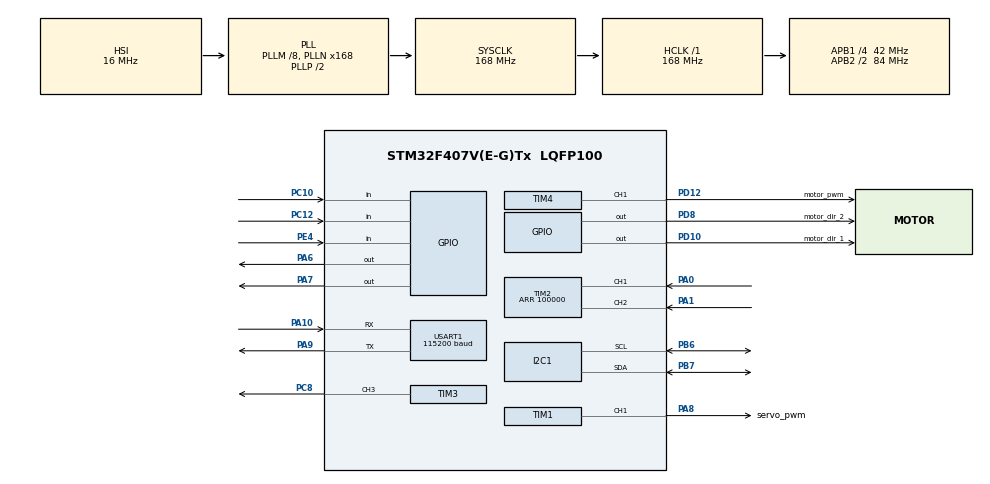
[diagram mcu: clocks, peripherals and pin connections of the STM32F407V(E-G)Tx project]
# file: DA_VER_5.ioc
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Mcu.Family=STM32F4
Mcu.Name=STM32F407V(E-G)Tx
Mcu.Package=LQFP100
NVIC.PriorityGroup=NVIC_PRIORITYGROUP_4
NVIC.TIM2_IRQn=true\:0\:0\:false\:false\:true\:true\:true\:true
NVIC.USART1_IRQn=true\:0\:0\:false\:false\:true\:true\:true\:true
PA0-WKUP.Signal=S_TIM2_CH1_ETR
PA1.Signal=S_TIM2_CH2
PA10.Mode=Asynchronous
PA10.Signal=USART1_RX
PA13.Mode=Serial_Wire
PA13.Signal=SYS_JTMS-SWDIO
PA14.Mode=Serial_Wire
PA14.Signal=SYS_JTCK-SWCLK
PA6.Signal=GPIO_Output
PA7.Signal=GPIO_Output
PA8.GPIO_Label=servo_pwm
PA8.Signal=S_TIM1_CH1
PA9.Mode=Asynchronous
PA9.Signal=USART1_TX
PB6.Mode=I2C
PB6.Signal=I2C1_SCL
PB7.Mode=I2C
PB7.Signal=I2C1_SDA
PC10.Signal=GPIO_Input
PC12.Signal=GPIO_Input
PC14-OSC32_IN.Mode=LSE-External-Oscillator
PC14-OSC32_IN.Signal=RCC_OSC32_IN
PC15-OSC32_OUT.Mode=LSE-External-Oscillator
PC15-OSC32_OUT.Signal=RCC_OSC32_OUT
PC8.Signal=S_TIM3_CH3
PD10.GPIO_Label=motor_dir_1
PD10.Signal=GPIO_Output
PD12.GPIO_Label=motor_pwm
PD12.Signal=S_TIM4_CH1
PD8.GPIO_Label=motor_dir_2
PD8.Signal=GPIO_Output
PE4.GPIO_PuPd=GPIO_PULLUP
PE4.Signal=GPIO_Input
PH0-OSC_IN.Mode=HSE-External-Oscillator
PH0-OSC_IN.Signal=RCC_OSC_IN
PH1-OSC_OUT.Mode=HSE-External-Oscillator
PH1-OSC_OUT.Signal=RCC_OSC_OUT
ProjectManager.HeapSize=0x200
ProjectManager.StackSize=0x400
ProjectManager.TargetToolchain=STM32CubeIDE
RCC.48MHZClocksFreq_Value=84000000
RCC.AHBFreq_Value=168000000
RCC.APB1CLKDivider=RCC_HCLK_DIV4
RCC.APB1Freq_Value=42000000
RCC.APB1TimFreq_Value=84000000
RCC.APB2CLKDivider=RCC_HCLK_DIV2
RCC.APB2Freq_Value=84000000
RCC.APB2TimFreq_Value=168000000
RCC.CortexFreq_Value=168000000
RCC.HCLKFreq_Value=168000000
RCC.HSE_VALUE=25000000
RCC.HSI_VALUE=16000000
RCC.PLLM=8
RCC.PLLN=168
RCC.SYSCLKFreq_VALUE=168000000
RCC.SYSCLKSource=RCC_SYSCLKSOURCE_PLLCLK
RCC.VCOOutputFreq_Value=336000000
SH.S_TIM1_CH1.0=TIM1_CH1,PWM Generation1 CH1
SH.S_TIM2_CH1_ETR.0=TIM2_CH1,Encoder_Interface
SH.S_TIM2_CH2.0=TIM2_CH2,Encoder_Interface
SH.S_TIM3_CH3.0=TIM3_CH3,PWM Generation3 CH3
SH.S_TIM4_CH1.0=TIM4_CH1,PWM Generation1 CH1
TIM1.Channel-PWM\ Generation1\ CH1=TIM_CHANNEL_1
TIM2.EncoderMode=TIM_ENCODERMODE_TI12
TIM2.IC1Polarity=TIM_ICPOLARITY_FALLING
TIM2.IC2Polarity=TIM_ICPOLARITY_FALLING
TIM2.Period=100000
TIM3.Channel-PWM\ Generation3\ CH3=TIM_CHANNEL_3
TIM3.Period=20000
TIM3.Prescaler=83
TIM4.Channel-PWM\ Generation1\ CH1=TIM_CHANNEL_1
TIM4.Period=99
TIM4.Prescaler=42000
USART1.BaudRate=115200
USART1.VirtualMode=VM_ASYNC
VP_TIM1_VS_ClockSourceINT.Mode=Internal
VP_TIM4_VS_ClockSourceINT.Mode=Internal
board=custom

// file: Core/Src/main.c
/* USER CODE BEGIN Header */
/**
  ******************************************************************************
  * @file           : main.c
  * @brief          : Main program body
  ******************************************************************************
  * @attention
  *
  * Copyright (c) 2023 STMicroelectronics.
  * All rights reserved.
  *
  * This software is licensed under terms that can be found in the LICENSE file
  * in the root directory of this software component.
  * If no LICENSE file comes with this software, it is provided AS-IS.
  *
  ******************************************************************************
  */
/* USER CODE END Header */
#include "main.h"

/* USER CODE BEGIN Includes */
#include "liquidcrystal_i2c.h"
#include "string.h"
#include <stdio.h>
#include <stdlib.h>
/* USER CODE END Includes */

/* USER CODE BEGIN PD */
#define BUFFER_SIZE 30
char buffer[BUFFER_SIZE];
/* USER CODE END PD */

/* USER CODE BEGIN PM */
TIM_HandleTypeDef htim3;
/* USER CODE END PM */

I2C_HandleTypeDef hi2c1;

TIM_HandleTypeDef htim1;
TIM_HandleTypeDef htim2;
TIM_HandleTypeDef htim4;

UART_HandleTypeDef huart1;

void SystemClock_Config(void);
static void MX_GPIO_Init(void);
static void MX_I2C1_Init(void);
static void MX_TIM1_Init(void);
static void MX_TIM4_Init(void);
static void MX_USART1_UART_Init(void);
static void MX_TIM2_Init(void);

/* USER CODE BEGIN PFP */
static void Motor_Control(int32_t motorSpeed);
static void MX_TIM3_Init(void);
/* USER CODE END PFP */

/* USER CODE BEGIN 0 */
float Input, Setpoint, Kp, Ki, Kd;
float P, I, D, PID;
float last_error, error;
float dt = 0.1; // th�?i gian lấy mẫu
float Load;
char *pch;

uint8_t running = 0;

uint32_t counter = 0;

void HAL_TIM_IC_CaptureCallback(TIM_HandleTypeDef *htim)
{
	counter = __HAL_TIM_GET_COUNTER(htim);
}

/* USER CODE END 0 */

int main(void)
{

  /* MCU Configuration--------------------------------------------------------*/

  /* Reset of all peripherals, Initializes the Flash interface and the Systick. */
  HAL_Init();

  /* Configure the system clock */
  SystemClock_Config();

  /* Initialize all configured peripherals */
  MX_GPIO_Init();
  MX_I2C1_Init();
  MX_TIM1_Init();
  MX_TIM4_Init();
  MX_USART1_UART_Init();
  MX_TIM2_Init();
  MX_TIM3_Init();
  /* USER CODE BEGIN 2 */
  HD44780_Init(2);
  HD44780_Clear();
  HD44780_SetCursor(0,0);
  HD44780_PrintStr("DO AN DIEU KHIEN");
	char str[6];
  HAL_TIM_PWM_Start(&htim4, TIM_CHANNEL_1);
  HAL_TIM_Encoder_Start_IT(&htim2, TIM_CHANNEL_ALL);
  HAL_TIM_PWM_Start(&htim3, TIM_CHANNEL_3);
  /* USER CODE END 2 */

  /* Infinite loop */
  /* USER CODE BEGIN WHILE */
  float KP, KD, KI;
  KP = 14;
  KI = 0.0143;
  KD = 10;
  Setpoint = 3600;

  // 1100 14 0.02 10
  Kp = KP/100;
  Ki = KI/100;
  Kd = KD/100;

  int16_t Position = 0;
  int16_t lastPosition = 0;
  while (1)
  {
			if (HAL_GPIO_ReadPin(GPIOE, GPIO_PIN_4) == 0) {
				P = 0; I = 0; D = 0; PID = 0;
				last_error = 0; error = 0;
				HAL_Delay(100);
				__HAL_TIM_SetCounter(&htim2,0);
			}

//##################### read Value from uart ##########################//
while (!running) {
	  Kp = KP/100;
	  Ki = KI/100;
	  Kd = KD/100;
	HAL_UART_Receive(&huart1, &buffer, 30, 100);
	if ((char)buffer[0] == 's') running = 1;
	if ((char)buffer[0] == 'o') running = 0;

	  pch = strtok(buffer, ":,");
	  while (pch != NULL)
	  {
		if (strcmp(pch, "Kp") == 0)
		{
		  KP = atof(strtok(NULL, ":,"));
		}
		else if (strcmp(pch, "Kd") == 0)
		{
		  KD = atof(strtok(NULL, ":,"));
		}
		else
		if (strcmp(pch, "Ki") == 0)
		{
		  KI = atof(strtok(NULL, ":,"));
		}
		else
			if (strcmp(pch, "Ag") == 0)
		{
		  Setpoint = atof(strtok(NULL, ":,"));
		}
		else if (strcmp(pch, "Re") == 0)
		{
		  Load = atof(strtok(NULL, ":,"));
		}
		pch = strtok(NULL, ":,");
		}
	 // if (counter < 25000) Position = counter; else Position = -(50000 - counter);
	  Position = 0;
	  lastPosition = counter;
		P = 0; I = 0; D = 0; PID = 0;
		last_error = 0; error = 0;
		HAL_Delay(100);
		//HAL_TIM_Encoder_Start_IT(&htim2, TIM_CHANNEL_ALL);
//		__HAL_TIM_SetCounter(&htim2,0);
//		if (counter == 0) lastPosition = 0;
		if (Load) {
			htim3.Instance->CCR3 = 1750;
		} else {
			htim3.Instance->CCR3 = 2500;
		}
		Motor_Control(0);

		//##################### I2C LCD SHOW ##########################//
		HD44780_Clear();
				sprintf(str, "%ld", (uint32_t)Setpoint);
				HD44780_SetCursor(10,1);
				HD44780_PrintStr(str);

		  		sprintf(str, "%ld", (uint32_t)Load);
		  				  		HD44780_SetCursor(8,1);
		  				  		HD44780_PrintStr(str);
		  	    sprintf(str, "%ld", (uint32_t)(KP));
					HD44780_SetCursor(0,1);
					HD44780_PrintStr(str);

		//##################### I2C LCD SHOW ##########################//

}

while (running) {
	//##################### caculate PID ##########################//
	  Kp = KP/100;
	  Ki = KI/100;
	  Kd = KD/100;
	HAL_UART_Receive(&huart1, &buffer, 30, 10);
	if ((char)buffer[0] == 's') running = 1;
	if ((char)buffer[0] == 'o') running = 0;

		//if (counter < 25000) Position = counter; else Position = -(50000 - counter);
		//if (Position < 0) Position = 0;
		Position = counter - lastPosition;
		Input = Position;
	    error = Setpoint - Input;
	    P = Kp * error;
	    I += Ki * error * dt;
	    D = Kd * (error - last_error) / dt;
	    PID = P + I + D;
	    last_error = error;
	    int speed = PID;
		  if (speed > 100) {
			  speed = 100;
		  }
		  else if (speed < -100) {
			  speed = -100;
		  }
	    Motor_Control(speed);
		  HAL_Delay(dt);
	//##################### caculate PID ##########################//

	//##################### tranfer data ##########################//
		  char buffer1[30];
		  int len = sprintf(buffer1, "%d", Position);
		  if (HAL_UART_Transmit(&huart1, (uint8_t*)buffer1, len, 20) != HAL_OK)
		  {
		    Error_Handler();
		  }

		  uint8_t data[] = "%";
		  HAL_UART_Transmit(&huart1, data, sizeof (data), 10);

		  len = sprintf(buffer1, "%d\r\n", speed);
		  if (HAL_UART_Transmit(&huart1, (uint8_t*)buffer1, len, 20) != HAL_OK)
		  {
		    Error_Handler();
		  }
	//##################### tranfer data ##########################//

		  //##################### I2C LCD SHOW ##########################//
		  HD44780_Clear();
		  		sprintf(str, "%ld", (uint32_t)speed);
		  		HD44780_SetCursor(10,1);
		  		HD44780_PrintStr(str);

		  		sprintf(str, "%ld", (uint32_t)running);
		  				  		HD44780_SetCursor(8,1);
		  				  		HD44780_PrintStr(str);

		  	  sprintf(str, "%d", Position);
		  	HD44780_SetCursor(0,1);
		  			  				  		HD44780_PrintStr(str);
//		  	  if (counter < 1000) {
//		  			HD44780_SetCursor(0,1);
//		  			HD44780_PrintStr(" ");
//		  			HD44780_SetCursor(1,1);
//		  			HD44780_PrintStr(str);
//		  	  } else {
//		  			HD44780_SetCursor(1,1);
//		  			HD44780_PrintStr(str);
//		  	  }
//		  	  HD44780_SetCursor(5,1);
//		  	  HD44780_PrintStr("  ");
		  //##################### I2C LCD SHOW ##########################//
}

    /* USER CODE END WHILE */

}
}

void SystemClock_Config(void)
{
  RCC_OscInitTypeDef RCC_OscInitStruct = {0};
  RCC_ClkInitTypeDef RCC_ClkInitStruct = {0};

  /** Configure the main internal regulator output voltage
  */
  __HAL_RCC_PWR_CLK_ENABLE();
  __HAL_PWR_VOLTAGESCALING_CONFIG(PWR_REGULATOR_VOLTAGE_SCALE1);

  /** Initializes the RCC Oscillators according to the specified parameters
  * in the RCC_OscInitTypeDef structure.
  */
  RCC_OscInitStruct.OscillatorType = RCC_OSCILLATORTYPE_HSI;
  RCC_OscInitStruct.HSIState = RCC_HSI_ON;
  RCC_OscInitStruct.HSICalibrationValue = RCC_HSICALIBRATION_DEFAULT;
  RCC_OscInitStruct.PLL.PLLState = RCC_PLL_ON;
  RCC_OscInitStruct.PLL.PLLSource = RCC_PLLSOURCE_HSI;
  RCC_OscInitStruct.PLL.PLLM = 8;
  RCC_OscInitStruct.PLL.PLLN = 168;
  RCC_OscInitStruct.PLL.PLLP = RCC_PLLP_DIV2;
  RCC_OscInitStruct.PLL.PLLQ = 4;
  if (HAL_RCC_OscConfig(&RCC_OscInitStruct) != HAL_OK)
  {
    Error_Handler();
  }

  /** Initializes the CPU, AHB and APB buses clocks
  */
  RCC_ClkInitStruct.ClockType = RCC_CLOCKTYPE_HCLK|RCC_CLOCKTYPE_SYSCLK
                              |RCC_CLOCKTYPE_PCLK1|RCC_CLOCKTYPE_PCLK2;
  RCC_ClkInitStruct.SYSCLKSource = RCC_SYSCLKSOURCE_PLLCLK;
  RCC_ClkInitStruct.AHBCLKDivider = RCC_SYSCLK_DIV1;
  RCC_ClkInitStruct.APB1CLKDivider = RCC_HCLK_DIV4;
  RCC_ClkInitStruct.APB2CLKDivider = RCC_HCLK_DIV2;

  if (HAL_RCC_ClockConfig(&RCC_ClkInitStruct, FLASH_LATENCY_5) != HAL_OK)
  {
    Error_Handler();
  }
}

static void MX_I2C1_Init(void)
{

  hi2c1.Instance = I2C1;
  hi2c1.Init.ClockSpeed = 100000;
  hi2c1.Init.DutyCycle = I2C_DUTYCYCLE_2;
  hi2c1.Init.OwnAddress1 = 0;
  hi2c1.Init.AddressingMode = I2C_ADDRESSINGMODE_7BIT;
  hi2c1.Init.DualAddressMode = I2C_DUALADDRESS_DISABLE;
  hi2c1.Init.OwnAddress2 = 0;
  hi2c1.Init.GeneralCallMode = I2C_GENERALCALL_DISABLE;
  hi2c1.Init.NoStretchMode = I2C_NOSTRETCH_DISABLE;
  if (HAL_I2C_Init(&hi2c1) != HAL_OK)
  {
    Error_Handler();
  }

}

static void MX_TIM1_Init(void)
{

  TIM_ClockConfigTypeDef sClockSourceConfig = {0};
  TIM_MasterConfigTypeDef sMasterConfig = {0};
  TIM_OC_InitTypeDef sConfigOC = {0};
  TIM_BreakDeadTimeConfigTypeDef sBreakDeadTimeConfig = {0};

  htim1.Instance = TIM1;
  htim1.Init.Prescaler = 0;
  htim1.Init.CounterMode = TIM_COUNTERMODE_UP;
  htim1.Init.Period = 65535;
  htim1.Init.ClockDivision = TIM_CLOCKDIVISION_DIV1;
  htim1.Init.RepetitionCounter = 0;
  htim1.Init.AutoReloadPreload = TIM_AUTORELOAD_PRELOAD_DISABLE;
  if (HAL_TIM_Base_Init(&htim1) != HAL_OK)
  {
    Error_Handler();
  }
  sClockSourceConfig.ClockSource = TIM_CLOCKSOURCE_INTERNAL;
  if (HAL_TIM_ConfigClockSource(&htim1, &sClockSourceConfig) != HAL_OK)
  {
    Error_Handler();
  }
  if (HAL_TIM_PWM_Init(&htim1) != HAL_OK)
  {
    Error_Handler();
  }
  sMasterConfig.MasterOutputTrigger = TIM_TRGO_RESET;
  sMasterConfig.MasterSlaveMode = TIM_MASTERSLAVEMODE_DISABLE;
  if (HAL_TIMEx_MasterConfigSynchronization(&htim1, &sMasterConfig) != HAL_OK)
  {
    Error_Handler();
  }
  sConfigOC.OCMode = TIM_OCMODE_PWM1;
  sConfigOC.Pulse = 0;
  sConfigOC.OCPolarity = TIM_OCPOLARITY_HIGH;
  sConfigOC.OCNPolarity = TIM_OCNPOLARITY_HIGH;
  sConfigOC.OCFastMode = TIM_OCFAST_DISABLE;
  sConfigOC.OCIdleState = TIM_OCIDLESTATE_RESET;
  sConfigOC.OCNIdleState = TIM_OCNIDLESTATE_RESET;
  if (HAL_TIM_PWM_ConfigChannel(&htim1, &sConfigOC, TIM_CHANNEL_1) != HAL_OK)
  {
    Error_Handler();
  }
  sBreakDeadTimeConfig.OffStateRunMode = TIM_OSSR_DISABLE;
  sBreakDeadTimeConfig.OffStateIDLEMode = TIM_OSSI_DISABLE;
  sBreakDeadTimeConfig.LockLevel = TIM_LOCKLEVEL_OFF;
  sBreakDeadTimeConfig.DeadTime = 0;
  sBreakDeadTimeConfig.BreakState = TIM_BREAK_DISABLE;
  sBreakDeadTimeConfig.BreakPolarity = TIM_BREAKPOLARITY_HIGH;
  sBreakDeadTimeConfig.AutomaticOutput = TIM_AUTOMATICOUTPUT_DISABLE;
  if (HAL_TIMEx_ConfigBreakDeadTime(&htim1, &sBreakDeadTimeConfig) != HAL_OK)
  {
    Error_Handler();
  }
  HAL_TIM_MspPostInit(&htim1);

}

static void MX_TIM2_Init(void)
{

  TIM_Encoder_InitTypeDef sConfig = {0};
  TIM_MasterConfigTypeDef sMasterConfig = {0};

  htim2.Instance = TIM2;
  htim2.Init.Prescaler = 0;
  htim2.Init.CounterMode = TIM_COUNTERMODE_UP;
  htim2.Init.Period = 50000;
  htim2.Init.ClockDivision = TIM_CLOCKDIVISION_DIV1;
  htim2.Init.AutoReloadPreload = TIM_AUTORELOAD_PRELOAD_DISABLE;
  sConfig.EncoderMode = TIM_ENCODERMODE_TI12;
  sConfig.IC1Polarity = TIM_ICPOLARITY_FALLING;
  sConfig.IC1Selection = TIM_ICSELECTION_DIRECTTI;
  sConfig.IC1Prescaler = TIM_ICPSC_DIV1;
  sConfig.IC1Filter = 0;
  sConfig.IC2Polarity = TIM_ICPOLARITY_FALLING;
  sConfig.IC2Selection = TIM_ICSELECTION_DIRECTTI;
  sConfig.IC2Prescaler = TIM_ICPSC_DIV1;
  sConfig.IC2Filter = 0;
  if (HAL_TIM_Encoder_Init(&htim2, &sConfig) != HAL_OK)
  {
    Error_Handler();
  }
  sMasterConfig.MasterOutputTrigger = TIM_TRGO_RESET;
  sMasterConfig.MasterSlaveMode = TIM_MASTERSLAVEMODE_DISABLE;
  if (HAL_TIMEx_MasterConfigSynchronization(&htim2, &sMasterConfig) != HAL_OK)
  {
    Error_Handler();
  }

}

static void MX_TIM4_Init(void)
{

  TIM_ClockConfigTypeDef sClockSourceConfig = {0};
  TIM_MasterConfigTypeDef sMasterConfig = {0};
  TIM_OC_InitTypeDef sConfigOC = {0};

  htim4.Instance = TIM4;
  htim4.Init.Prescaler = 42000;
  htim4.Init.CounterMode = TIM_COUNTERMODE_UP;
  htim4.Init.Period = 99;
  htim4.Init.ClockDivision = TIM_CLOCKDIVISION_DIV1;
  htim4.Init.AutoReloadPreload = TIM_AUTORELOAD_PRELOAD_DISABLE;
  if (HAL_TIM_Base_Init(&htim4) != HAL_OK)
  {
    Error_Handler();
  }
  sClockSourceConfig.ClockSource = TIM_CLOCKSOURCE_INTERNAL;
  if (HAL_TIM_ConfigClockSource(&htim4, &sClockSourceConfig) != HAL_OK)
  {
    Error_Handler();
  }
  if (HAL_TIM_PWM_Init(&htim4) != HAL_OK)
  {
    Error_Handler();
  }
  sMasterConfig.MasterOutputTrigger = TIM_TRGO_RESET;
  sMasterConfig.MasterSlaveMode = TIM_MASTERSLAVEMODE_DISABLE;
  if (HAL_TIMEx_MasterConfigSynchronization(&htim4, &sMasterConfig) != HAL_OK)
  {
    Error_Handler();
  }
  sConfigOC.OCMode = TIM_OCMODE_PWM1;
  sConfigOC.Pulse = 0;
  sConfigOC.OCPolarity = TIM_OCPOLARITY_HIGH;
  sConfigOC.OCFastMode = TIM_OCFAST_DISABLE;
  if (HAL_TIM_PWM_ConfigChannel(&htim4, &sConfigOC, TIM_CHANNEL_1) != HAL_OK)
  {
    Error_Handler();
  }
  HAL_TIM_MspPostInit(&htim4);

}

static void MX_USART1_UART_Init(void)
{

  huart1.Instance = USART1;
  huart1.Init.BaudRate = 9600;
  huart1.Init.WordLength = UART_WORDLENGTH_8B;
  huart1.Init.StopBits = UART_STOPBITS_1;
  huart1.Init.Parity = UART_PARITY_NONE;
  huart1.Init.Mode = UART_MODE_TX_RX;
  huart1.Init.HwFlowCtl = UART_HWCONTROL_NONE;
  huart1.Init.OverSampling = UART_OVERSAMPLING_16;
  if (HAL_UART_Init(&huart1) != HAL_OK)
  {
    Error_Handler();
  }

}

static void MX_GPIO_Init(void)
{
  GPIO_InitTypeDef GPIO_InitStruct = {0};

  /* GPIO Ports Clock Enable */
  __HAL_RCC_GPIOE_CLK_ENABLE();
  __HAL_RCC_GPIOC_CLK_ENABLE();
  __HAL_RCC_GPIOH_CLK_ENABLE();
  __HAL_RCC_GPIOA_CLK_ENABLE();
  __HAL_RCC_GPIOD_CLK_ENABLE();
  __HAL_RCC_GPIOB_CLK_ENABLE();

  /*Configure GPIO pin Output Level */
  HAL_GPIO_WritePin(GPIOA, GPIO_PIN_6|GPIO_PIN_7, GPIO_PIN_RESET);

  /*Configure GPIO pin Output Level */
  HAL_GPIO_WritePin(GPIOD, motor_dir_2_Pin|motor_dir_1_Pin, GPIO_PIN_RESET);

  /*Configure GPIO pin : PE4 */
  GPIO_InitStruct.Pin = GPIO_PIN_4;
  GPIO_InitStruct.Mode = GPIO_MODE_INPUT;
  GPIO_InitStruct.Pull = GPIO_PULLUP;
  HAL_GPIO_Init(GPIOE, &GPIO_InitStruct);

  /*Configure GPIO pins : PA6 PA7 */
  GPIO_InitStruct.Pin = GPIO_PIN_6|GPIO_PIN_7;
  GPIO_InitStruct.Mode = GPIO_MODE_OUTPUT_PP;
  GPIO_InitStruct.Pull = GPIO_NOPULL;
  GPIO_InitStruct.Speed = GPIO_SPEED_FREQ_LOW;
  HAL_GPIO_Init(GPIOA, &GPIO_InitStruct);

  /*Configure GPIO pins : motor_dir_2_Pin motor_dir_1_Pin */
  GPIO_InitStruct.Pin = motor_dir_2_Pin|motor_dir_1_Pin;
  GPIO_InitStruct.Mode = GPIO_MODE_OUTPUT_PP;
  GPIO_InitStruct.Pull = GPIO_NOPULL;
  GPIO_InitStruct.Speed = GPIO_SPEED_FREQ_LOW;
  HAL_GPIO_Init(GPIOD, &GPIO_InitStruct);

  /*Configure GPIO pins : PC10 PC12 */
  GPIO_InitStruct.Pin = GPIO_PIN_10|GPIO_PIN_12;
  GPIO_InitStruct.Mode = GPIO_MODE_INPUT;
  GPIO_InitStruct.Pull = GPIO_NOPULL;
  HAL_GPIO_Init(GPIOC, &GPIO_InitStruct);

}

/* USER CODE BEGIN 4 */
static void Motor_Control(int32_t motorSpeed){

	if (motorSpeed > 0){
		HAL_GPIO_WritePin(GPIOD, GPIO_PIN_8, 0);
	    HAL_GPIO_WritePin(GPIOD, GPIO_PIN_10, 1);
	} else {
		motorSpeed = -motorSpeed;
		HAL_GPIO_WritePin(GPIOD, GPIO_PIN_8, 1);
	    HAL_GPIO_WritePin(GPIOD, GPIO_PIN_10, 0);
	}
    __HAL_TIM_SET_COMPARE(&htim4,TIM_CHANNEL_1,motorSpeed);
}

static void MX_TIM3_Init(void)
{

  /* USER CODE BEGIN TIM3_Init 0 */

  /* USER CODE END TIM3_Init 0 */

  TIM_MasterConfigTypeDef sMasterConfig = {0};
  TIM_OC_InitTypeDef sConfigOC = {0};

  /* USER CODE BEGIN TIM3_Init 1 */

  /* USER CODE END TIM3_Init 1 */
  htim3.Instance = TIM3;
  htim3.Init.Prescaler = 83;
  htim3.Init.CounterMode = TIM_COUNTERMODE_UP;
  htim3.Init.Period = 20000;
  htim3.Init.ClockDivision = TIM_CLOCKDIVISION_DIV1;
  htim3.Init.AutoReloadPreload = TIM_AUTORELOAD_PRELOAD_DISABLE;
  if (HAL_TIM_PWM_Init(&htim3) != HAL_OK)
  {
    Error_Handler();
  }
  sMasterConfig.MasterOutputTrigger = TIM_TRGO_RESET;
  sMasterConfig.MasterSlaveMode = TIM_MASTERSLAVEMODE_DISABLE;
  if (HAL_TIMEx_MasterConfigSynchronization(&htim3, &sMasterConfig) != HAL_OK)
  {
    Error_Handler();
  }
  sConfigOC.OCMode = TIM_OCMODE_PWM1;
  sConfigOC.Pulse = 0;
  sConfigOC.OCPolarity = TIM_OCPOLARITY_HIGH;
  sConfigOC.OCFastMode = TIM_OCFAST_DISABLE;
  if (HAL_TIM_PWM_ConfigChannel(&htim3, &sConfigOC, TIM_CHANNEL_3) != HAL_OK)
  {
    Error_Handler();
  }
  /* USER CODE BEGIN TIM3_Init 2 */

  /* USER CODE END TIM3_Init 2 */
  HAL_TIM_MspPostInit(&htim3);

}
/* USER CODE END 4 */

void Error_Handler(void)
{
  __disable_irq();
  while (1)
  {
  }
}
